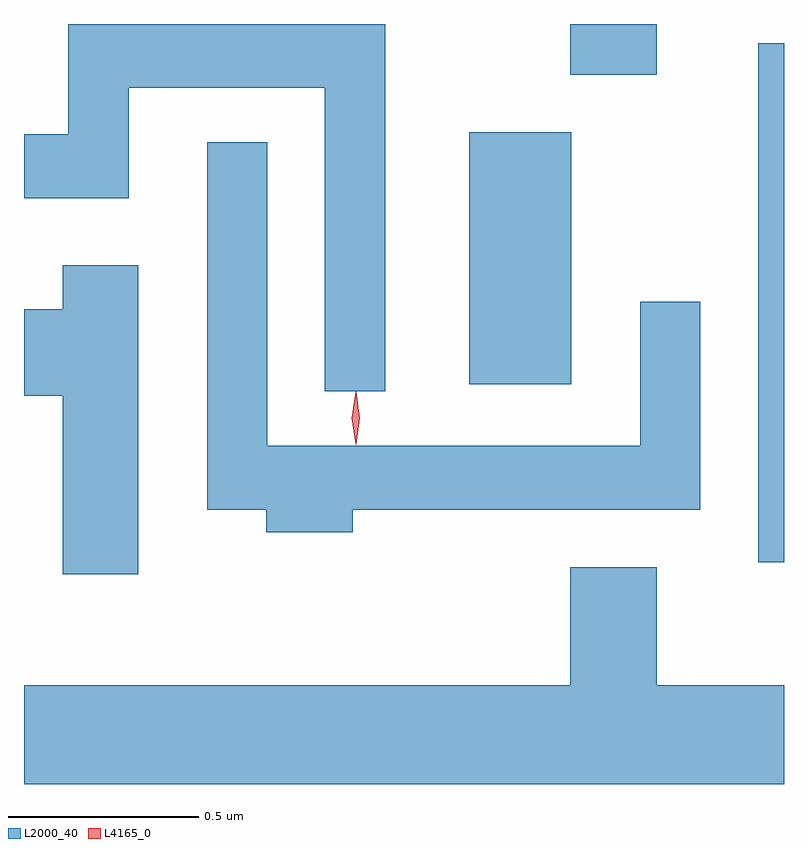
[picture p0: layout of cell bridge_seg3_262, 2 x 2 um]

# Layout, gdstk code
import gdstk
lib = gdstk.Library(unit=1e-6, precision=1e-09)
def R(c, l, rs):  # rectangles x0, y0, x1, y1
    for r in rs: c.add(gdstk.rectangle(r[:2], r[2:], *l))
def P(c, l, *ps):  # polygons
    for p in ps: c.add(gdstk.Polygon(p, *l))
L2000_40 = (2000, 40)
L4165_0 = (4165, 0)

bridge_seg3_262 = lib.new_cell('bridge_seg3_262')
R(bridge_seg3_262, L2000_40, [(932.706,1131.048,932.774,1132.414), (931.946,1131.516,932.214,1132.179), (932.211,1132.331,932.439,1132.464)])
P(bridge_seg3_262, L2000_40, [(931.724,1132.464),(930.891,1132.464),(930.891,1132.174),(930.774,1132.174),(930.774,1132.006),(931.049,1132.006),(931.049,1132.296),(931.566,1132.296),(931.566,1131.498),(931.724,1131.498)],
  [(931.639,1131.186),(932.554,1131.186),(932.554,1131.733),(932.396,1131.733),(932.396,1131.354),(931.414,1131.354),(931.414,1132.153),(931.256,1132.153),(931.256,1131.186),(931.411,1131.186),(931.411,1131.126),(931.639,1131.126)],
  [(931.074,1131.829),(930.876,1131.829),(930.876,1131.714),(930.774,1131.714),(930.774,1131.486),(930.876,1131.486),(930.876,1131.016),(931.074,1131.016)],
  [(932.774,1130.724),(932.439,1130.724),(932.439,1131.034),(932.211,1131.034),(932.211,1130.724),(930.774,1130.724),(930.774,1130.464),(932.774,1130.464)])
P(bridge_seg3_262, L4165_0, [(931.647,1131.357),(931.647,1131.358),(931.637,1131.427),(931.647,1131.496),(931.647,1131.496),(931.648,1131.496),(931.657,1131.427),(931.648,1131.358)])

lib.write_gds('bridge_seg3_262.gds')
